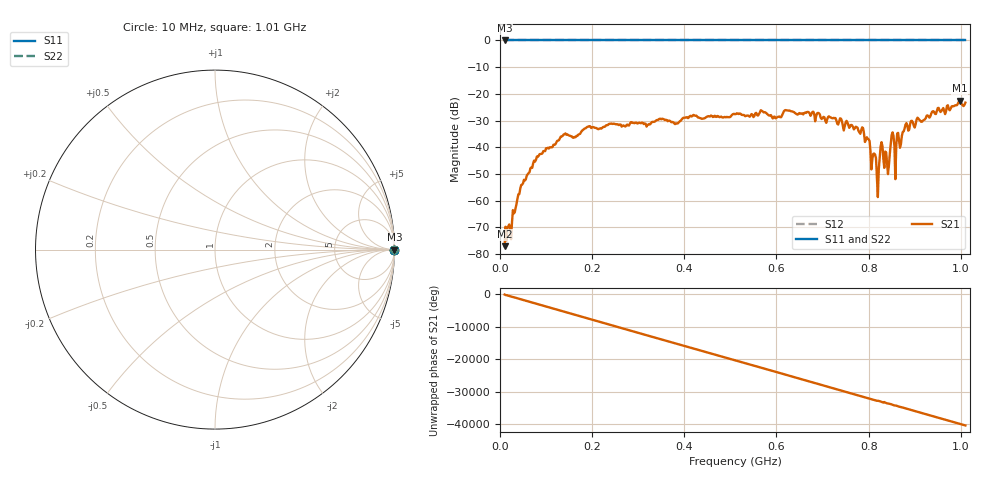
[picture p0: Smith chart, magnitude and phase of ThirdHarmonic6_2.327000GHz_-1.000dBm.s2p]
! 8/17/2025 3:20:42 AM
! C:\ANRITSUVNA\TEMP\TEMP.S2P
! CHANNEL.1
! TR.MEASUREMENT
! RAW.DATA
! RF.CORRECTION.OFF
! AVERAGING.OFF
! IF.BANDWIDTH: 5KHZ
! SWEEPTYPE:  FREQ.SWEEP(Linear)
! Reference Plane Port Info
! PORT:  PORT1  PORT2
! DISTANCE:  0  m  0  m
! TIME:  0  s  0  s
! PHASE.OFFSET:  0  deg.  0  deg.
! LOSS:  0  dB  0  dB
! REF.LOSS:  0  dB  0  dB
! REF.FREQ:  0  Hz  0  Hz
! Power Info
! POWER:  -20  dBm  -20  dBm
! EFF.POWER:  -20  dBm  -20  dBm
! SOURCE.ATTEN:  0  dB  0  dB
! TEST.ATTEN:  0  dB  0  dB
# GHZ S RI R 50.0
! FREQ.GHZ  S11RE  S11IM  S21RE  S21IM  S12RE  S12IM  S22RE  S22IM
!; PortSelection: Port_12
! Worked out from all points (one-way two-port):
!   501 points, 10 MHz to 1.01 GHz, reference 50 ohm
!   highest |S21| = -22.58 dB at 998 MHz (marker M1); lowest = -77.0 dB at 10 MHz (marker M2)
!   lowest |S11| = 0.0 dB at 10 MHz (marker M3)
!   |S11| at or under -10 dB: nowhere
!   |S22| runs from 0.0 to 0.0 dB; largest |S21 - S12| = 1.1
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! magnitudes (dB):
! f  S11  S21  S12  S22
! 10 MHz  0.0  -77.0  0.0  0.0
! 26 MHz  0.0  -68.2  0.0  0.0
! 48 MHz  0.0  -54.0  0.0  0.0
! 76 MHz  0.0  -45.4  0.0  0.0
! 138 MHz  0.0  -35.2  0.0  0.0
! 178 MHz  0.0  -33.8  0.0  0.0
! 344 MHz  0.0  -29.6  0.0  0.0
! 510 MHz  0.0  -27.6  0.0  0.0
! 678 MHz  0.0  -26.8  0.0  0.0
! 786 MHz  0.0  -32.5  0.0  0.0
! 800 MHz  0.0  -37.0  0.0  0.0
! 808 MHz  0.0  -44.5  0.0  0.0
! 812 MHz  0.0  -42.3  0.0  0.0
! 820 MHz  0.0  -58.7  0.0  0.0
! 828 MHz  0.0  -38.1  0.0  0.0
! 838 MHz  0.0  -41.9  0.0  0.0
! 844 MHz  0.0  -46.7  0.0  0.0
! 850 MHz  0.0  -35.4  0.0  0.0
! 860 MHz  0.0  -39.2  0.0  0.0
! 880 MHz  0.0  -31.5  0.0  0.0
! 998 MHz  0.0  -22.6  0.0  0.0
! 1.01 GHz  0.0  -23.3  0.0  0.0
